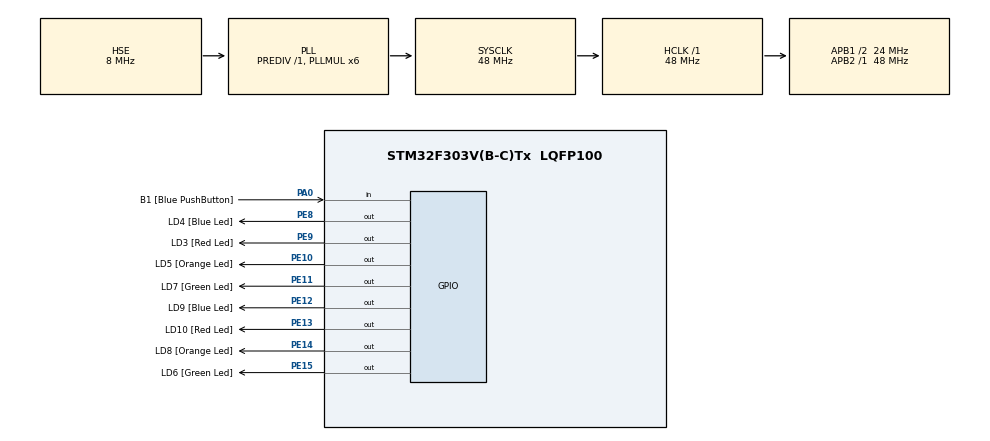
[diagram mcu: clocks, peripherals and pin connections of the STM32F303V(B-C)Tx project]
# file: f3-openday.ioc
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ADC1.DataAlign=ADC_DATAALIGN_RIGHT
ADC1.EOCSelection=ADC_EOC_SINGLE_CONV
ADC1.EnableRegularConversion=DISABLE
ADC1.InjNumberOfConversion=2
ADC1.InjectedChannel-2\#ChannelInjectedConversion=ADC_CHANNEL_TEMPSENSOR
ADC1.InjectedChannel-3\#ChannelInjectedConversion=ADC_CHANNEL_VREFINT
ADC1.InjectedOffset-2\#ChannelInjectedConversion=0
ADC1.InjectedOffset-3\#ChannelInjectedConversion=0
ADC1.InjectedOffsetNumber-2\#ChannelInjectedConversion=ADC_OFFSET_NONE
ADC1.InjectedOffsetNumber-3\#ChannelInjectedConversion=ADC_OFFSET_NONE
ADC1.InjectedRank-2\#ChannelInjectedConversion=1
ADC1.InjectedRank-3\#ChannelInjectedConversion=2
ADC1.InjectedSamplingTime-2\#ChannelInjectedConversion=ADC_SAMPLETIME_601CYCLES_5
ADC1.InjectedSamplingTime-3\#ChannelInjectedConversion=ADC_SAMPLETIME_601CYCLES_5
ADC1.master=1
Mcu.Family=STM32F3
Mcu.Name=STM32F303V(B-C)Tx
Mcu.Package=LQFP100
NVIC.PriorityGroup=NVIC_PRIORITYGROUP_0
PA0.GPIO_Label=B1 [Blue PushButton]
PA0.Signal=GPIO_Input
PA11.GPIO_Label=DM
PA11.Signal=USB_DM
PA12.GPIO_Label=DP
PA12.Signal=USB_DP
PA13.GPIO_Label=SWDIO
PA13.Mode=Trace_Asynchronous_SW
PA13.Signal=SYS_JTMS-SWDIO
PA14.GPIO_Label=SWCLK
PA14.Mode=Trace_Asynchronous_SW
PA14.Signal=SYS_JTCK-SWCLK
PB3.GPIO_Label=SWO
PB3.Mode=Trace_Asynchronous_SW
PB3.Signal=SYS_JTDO-TRACESWO
PC14-OSC32_IN.GPIO_Label=OSC32_IN
PC14-OSC32_IN.Signal=RCC_OSC32_IN
PC15-OSC32_OUT.GPIO_Label=OSC32_OUT
PC15-OSC32_OUT.Signal=RCC_OSC32_OUT
PE10.GPIO_Label=LD5 [Orange Led]
PE10.Signal=GPIO_Output
PE11.GPIO_Label=LD7 [Green Led]
PE11.Signal=GPIO_Output
PE12.GPIO_Label=LD9 [Blue Led]
PE12.Signal=GPIO_Output
PE13.GPIO_Label=LD10 [Red Led]
PE13.Signal=GPIO_Output
PE14.GPIO_Label=LD8 [Orange Led]
PE14.Signal=GPIO_Output
PE15.GPIO_Label=LD6 [Green Led]
PE15.Signal=GPIO_Output
PE8.GPIO_Label=LD4 [Blue Led]
PE8.Signal=GPIO_Output
PE9.GPIO_Label=LD3 [Red Led]
PE9.GPIO_Speed=GPIO_SPEED_FREQ_HIGH
PE9.Signal=SharedStack_PE9
PE9.Stacked=true
PF0-OSC_IN.GPIO_Label=OSC_IN
PF0-OSC_IN.Mode=HSE-External-Clock-Source
PF0-OSC_IN.Signal=RCC_OSC_IN
PF1-OSC_OUT.GPIO_Label=OSC_OUT
PF1-OSC_OUT.Signal=RCC_OSC_OUT
ProjectManager.HeapSize=0x200
ProjectManager.StackSize=0x400
ProjectManager.TargetToolchain=SW4STM32
RCC.AHBFreq_Value=48000000
RCC.APB1CLKDivider=RCC_HCLK_DIV2
RCC.APB1Freq_Value=24000000
RCC.APB1TimFreq_Value=48000000
RCC.APB2Freq_Value=48000000
RCC.APB2TimFreq_Value=48000000
RCC.CortexFreq_Value=48000000
RCC.HCLKFreq_Value=48000000
RCC.HSE_VALUE=8000000
RCC.HSI_VALUE=8000000
RCC.LSE_VALUE=32768
RCC.PLLMUL=RCC_PLL_MUL6
RCC.PLLSourceVirtual=RCC_PLLSOURCE_HSE
RCC.SYSCLKFreq_VALUE=48000000
RCC.SYSCLKSourceVirtual=RCC_SYSCLKSOURCE_PLLCLK
RCC.USBFreq_Value=48000000
SH.SharedStack_PE9.0=TIM1_CH1
SH.SharedStack_PE9.1=GPIO_Output
VP_ADC1_TempSens_Input.Mode=IN-TempSens
VP_ADC1_Vref_Input.Mode=IN-Vrefint
board=STM32F3DISCOVERY

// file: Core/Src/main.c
/* USER CODE BEGIN Header */
/**
  ******************************************************************************
  * @file           : main.c
  * @brief          : Main program body
  ******************************************************************************
  * @attention
  *
  * <h2><center>&copy; Copyright (c) 2019 STMicroelectronics.
  * All rights reserved.</center></h2>
  *
  * This software component is licensed by ST under BSD 3-Clause license,
  * the "License"; You may not use this file except in compliance with the
  * License. You may obtain a copy of the License at:
  *                        opensource.org/licenses/BSD-3-Clause
  *
  ******************************************************************************
  */
/* USER CODE END Header */

#include "main.h"

ADC_HandleTypeDef hadc1;

void SystemClock_Config(void);
static void MX_GPIO_Init(void);
static void MX_ADC1_Init(void);

int main(void)
{
  /* USER CODE BEGIN 1 */
    const uint16_t adcCalib30 = *((uint16_t *) 0x1FFFF7B8);
    const uint16_t adcCalib110 = *((uint16_t *) 0x1FFFF7C2);
    const uint16_t adcCalibVref = *((uint16_t *) 0x1FFFF7BA);
    static GPIO_TypeDef *LED_PORTS[4][2] = {
            {LD4_GPIO_Port, LD9_GPIO_Port},
            {LD6_GPIO_Port, LD7_GPIO_Port},
            {LD5_GPIO_Port, LD8_GPIO_Port},
            {LD3_GPIO_Port, LD10_GPIO_Port},
    };
    static const uint16_t LED_PINS[4][2] = {
            {LD4_Pin, LD9_Pin},
            {LD6_Pin, LD7_Pin},
            {LD5_Pin, LD8_Pin},
            {LD3_Pin, LD10_Pin},
    };

  /* USER CODE END 1 */

  /* MCU Configuration--------------------------------------------------------*/

  /* Reset of all peripherals, Initializes the Flash interface and the Systick. */
  HAL_Init();

  /* Configure the system clock */
  SystemClock_Config();

  /* Initialize all configured peripherals */
  MX_GPIO_Init();
  MX_ADC1_Init();

  /* Infinite loop */
  /* USER CODE BEGIN WHILE */
#pragma clang diagnostic push
#pragma clang diagnostic ignored "-Wmissing-noreturn"
    while (1) {
    /* USER CODE END WHILE */

    /* USER CODE BEGIN 3 */
        HAL_ADCEx_InjectedStart(&hadc1);
        HAL_ADCEx_InjectedPollForConversion(&hadc1, 1000);
        double adcTempValue = HAL_ADCEx_InjectedGetValue(&hadc1, 1);
        double adcVrefValue = HAL_ADCEx_InjectedGetValue(&hadc1, 2);

        double temp =
                30.0 + (adcTempValue * adcCalibVref / adcVrefValue - adcCalib30) * 80.0 / (adcCalib110 - adcCalib30);
        int ledIndex;
        if (temp < 22) {
            ledIndex = 0;
        } else if (temp < 24) {
            ledIndex = 1;
        } else if (temp < 26) {
            ledIndex = 2;
        } else {
            ledIndex = 3;
        }
        for (int i = 0; i < 4; ++i) {
            for (int j = 0; j < 2; ++j) {
                HAL_GPIO_WritePin(LED_PORTS[i][j], LED_PINS[i][j], ledIndex == i ? GPIO_PIN_SET : GPIO_PIN_RESET);
            }
        }
    }
#pragma clang diagnostic pop
  /* USER CODE END 3 */
}

void SystemClock_Config(void)
{
  RCC_OscInitTypeDef RCC_OscInitStruct = {0};
  RCC_ClkInitTypeDef RCC_ClkInitStruct = {0};
  RCC_PeriphCLKInitTypeDef PeriphClkInit = {0};

  /** Initializes the CPU, AHB and APB busses clocks
  */
  RCC_OscInitStruct.OscillatorType = RCC_OSCILLATORTYPE_HSE;
  RCC_OscInitStruct.HSEState = RCC_HSE_BYPASS;
  RCC_OscInitStruct.HSEPredivValue = RCC_HSE_PREDIV_DIV1;
  RCC_OscInitStruct.HSIState = RCC_HSI_ON;
  RCC_OscInitStruct.PLL.PLLState = RCC_PLL_ON;
  RCC_OscInitStruct.PLL.PLLSource = RCC_PLLSOURCE_HSE;
  RCC_OscInitStruct.PLL.PLLMUL = RCC_PLL_MUL6;
  if (HAL_RCC_OscConfig(&RCC_OscInitStruct) != HAL_OK)
  {
    Error_Handler();
  }
  /** Initializes the CPU, AHB and APB busses clocks
  */
  RCC_ClkInitStruct.ClockType = RCC_CLOCKTYPE_HCLK|RCC_CLOCKTYPE_SYSCLK
                              |RCC_CLOCKTYPE_PCLK1|RCC_CLOCKTYPE_PCLK2;
  RCC_ClkInitStruct.SYSCLKSource = RCC_SYSCLKSOURCE_PLLCLK;
  RCC_ClkInitStruct.AHBCLKDivider = RCC_SYSCLK_DIV1;
  RCC_ClkInitStruct.APB1CLKDivider = RCC_HCLK_DIV2;
  RCC_ClkInitStruct.APB2CLKDivider = RCC_HCLK_DIV1;

  if (HAL_RCC_ClockConfig(&RCC_ClkInitStruct, FLASH_LATENCY_1) != HAL_OK)
  {
    Error_Handler();
  }
  PeriphClkInit.PeriphClockSelection = RCC_PERIPHCLK_ADC12;
  PeriphClkInit.Adc12ClockSelection = RCC_ADC12PLLCLK_DIV1;
  if (HAL_RCCEx_PeriphCLKConfig(&PeriphClkInit) != HAL_OK)
  {
    Error_Handler();
  }
}

static void MX_ADC1_Init(void)
{

  ADC_MultiModeTypeDef multimode = {0};
  ADC_InjectionConfTypeDef sConfigInjected = {0};

  /** Common config
  */
  hadc1.Instance = ADC1;
  hadc1.Init.ClockPrescaler = ADC_CLOCK_ASYNC_DIV1;
  hadc1.Init.Resolution = ADC_RESOLUTION_12B;
  hadc1.Init.ScanConvMode = ADC_SCAN_ENABLE;
  hadc1.Init.ContinuousConvMode = DISABLE;
  hadc1.Init.DiscontinuousConvMode = DISABLE;
  hadc1.Init.DataAlign = ADC_DATAALIGN_RIGHT;
  hadc1.Init.NbrOfConversion = 1;
  hadc1.Init.DMAContinuousRequests = DISABLE;
  hadc1.Init.EOCSelection = ADC_EOC_SINGLE_CONV;
  hadc1.Init.LowPowerAutoWait = DISABLE;
  hadc1.Init.Overrun = ADC_OVR_DATA_OVERWRITTEN;
  if (HAL_ADC_Init(&hadc1) != HAL_OK)
  {
    Error_Handler();
  }
  /** Configure the ADC multi-mode
  */
  multimode.Mode = ADC_MODE_INDEPENDENT;
  if (HAL_ADCEx_MultiModeConfigChannel(&hadc1, &multimode) != HAL_OK)
  {
    Error_Handler();
  }
  /** Configure Injected Channel
  */
  sConfigInjected.InjectedChannel = ADC_CHANNEL_TEMPSENSOR;
  sConfigInjected.InjectedRank = ADC_INJECTED_RANK_1;
  sConfigInjected.InjectedSingleDiff = ADC_SINGLE_ENDED;
  sConfigInjected.InjectedNbrOfConversion = 2;
  sConfigInjected.InjectedSamplingTime = ADC_SAMPLETIME_601CYCLES_5;
  sConfigInjected.ExternalTrigInjecConvEdge = ADC_EXTERNALTRIGINJECCONV_EDGE_NONE;
  sConfigInjected.ExternalTrigInjecConv = ADC_INJECTED_SOFTWARE_START;
  sConfigInjected.AutoInjectedConv = DISABLE;
  sConfigInjected.InjectedDiscontinuousConvMode = DISABLE;
  sConfigInjected.QueueInjectedContext = DISABLE;
  sConfigInjected.InjectedOffset = 0;
  sConfigInjected.InjectedOffsetNumber = ADC_OFFSET_NONE;
  if (HAL_ADCEx_InjectedConfigChannel(&hadc1, &sConfigInjected) != HAL_OK)
  {
    Error_Handler();
  }
  /** Configure Injected Channel
  */
  sConfigInjected.InjectedChannel = ADC_CHANNEL_VREFINT;
  sConfigInjected.InjectedRank = ADC_INJECTED_RANK_2;
  if (HAL_ADCEx_InjectedConfigChannel(&hadc1, &sConfigInjected) != HAL_OK)
  {
    Error_Handler();
  }

}

static void MX_GPIO_Init(void)
{
  GPIO_InitTypeDef GPIO_InitStruct = {0};

  /* GPIO Ports Clock Enable */
  __HAL_RCC_GPIOC_CLK_ENABLE();
  __HAL_RCC_GPIOF_CLK_ENABLE();
  __HAL_RCC_GPIOA_CLK_ENABLE();
  __HAL_RCC_GPIOE_CLK_ENABLE();
  __HAL_RCC_GPIOB_CLK_ENABLE();

  /*Configure GPIO pin Output Level */
  HAL_GPIO_WritePin(GPIOE, LD4_Pin|LD3_Pin|LD5_Pin|LD7_Pin
                          |LD9_Pin|LD10_Pin|LD8_Pin|LD6_Pin, GPIO_PIN_RESET);

  /*Configure GPIO pin : B1_Pin */
  GPIO_InitStruct.Pin = B1_Pin;
  GPIO_InitStruct.Mode = GPIO_MODE_INPUT;
  GPIO_InitStruct.Pull = GPIO_NOPULL;
  HAL_GPIO_Init(B1_GPIO_Port, &GPIO_InitStruct);

  /*Configure GPIO pins : LD4_Pin LD5_Pin LD7_Pin LD9_Pin
                           LD10_Pin LD8_Pin LD6_Pin */
  GPIO_InitStruct.Pin = LD4_Pin|LD5_Pin|LD7_Pin|LD9_Pin
                          |LD10_Pin|LD8_Pin|LD6_Pin;
  GPIO_InitStruct.Mode = GPIO_MODE_OUTPUT_PP;
  GPIO_InitStruct.Pull = GPIO_NOPULL;
  GPIO_InitStruct.Speed = GPIO_SPEED_FREQ_LOW;
  HAL_GPIO_Init(GPIOE, &GPIO_InitStruct);

  /*Configure GPIO pin : LD3_Pin */
  GPIO_InitStruct.Pin = LD3_Pin;
  GPIO_InitStruct.Mode = GPIO_MODE_OUTPUT_PP;
  GPIO_InitStruct.Pull = GPIO_NOPULL;
  GPIO_InitStruct.Speed = GPIO_SPEED_FREQ_HIGH;
  HAL_GPIO_Init(LD3_GPIO_Port, &GPIO_InitStruct);

  /*Configure GPIO pins : DM_Pin DP_Pin */
  GPIO_InitStruct.Pin = DM_Pin|DP_Pin;
  GPIO_InitStruct.Mode = GPIO_MODE_AF_PP;
  GPIO_InitStruct.Pull = GPIO_NOPULL;
  GPIO_InitStruct.Speed = GPIO_SPEED_FREQ_HIGH;
  GPIO_InitStruct.Alternate = GPIO_AF14_USB;
  HAL_GPIO_Init(GPIOA, &GPIO_InitStruct);

}

void Error_Handler(void)
{
}

/************************ (C) COPYRIGHT STMicroelectronics *****END OF FILE****/
